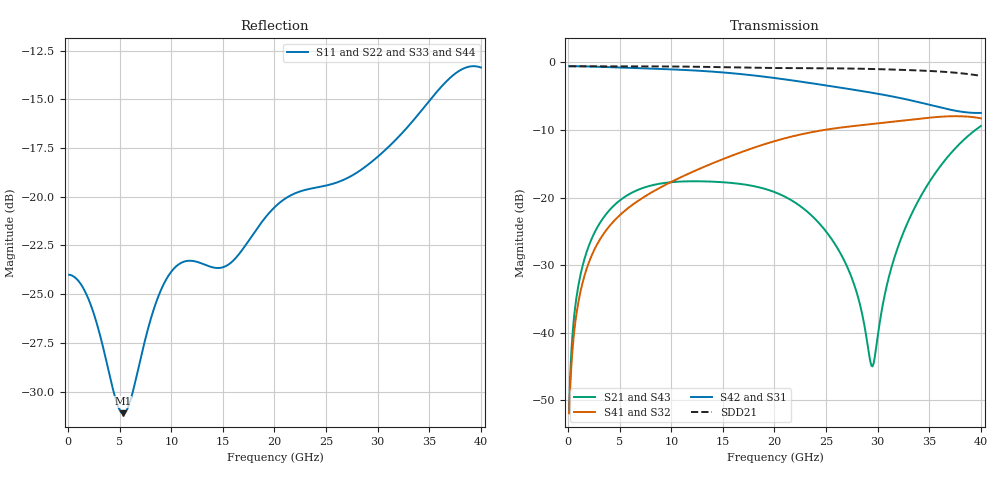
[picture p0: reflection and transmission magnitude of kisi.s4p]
! E_s8_L1L8_p1000_oval_g2: pair L1→L8, pitch 1 mm, one oval antipad, 2 GND vias
! stackup: 8-layer 1.6 mm FR-4 (generic)
! ports: 1 P near, 2 N near, 3 P far, 4 N far
! kisi-fdtd, conformal, dfine 0.035 mm, 768105 cells
# Hz S RI R 50
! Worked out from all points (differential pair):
!   400 points, 100 MHz to 40 GHz, reference 50 ohm
!   strongest paths, dB at 100 MHz, 10.1 GHz, 20.1 GHz, 30.1 GHz, 40 GHz:
!     S42: -0.6, -1.0, -2.3, -4.7, -7.5
!     S31: -0.6, -1.0, -2.3, -4.7, -7.5
!     S41: -51.9, -17.6, -11.6, -9.0, -8.3
!     S32: -51.9, -17.6, -11.6, -9.0, -8.3
!     S21: -51.7, -17.7, -19.2, -39.5, -9.4
!     S43: -51.7, -17.7, -19.2, -39.5, -9.4
!   taken as a pair (ports 2,1 in; 4,3 out), SDD21 dB: -0.6, -0.6, -0.8, -1.0, -2.0
!   lowest |S11| = -31.1 dB at 5.3 GHz (marker M1), VSWR 1.06, Z = 52.9 - j0.212 ohm
!   |S11| at or under -10 dB: start of sweep to end of sweep
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1e8  -0.063 0.00285  0.00142 0.0022  0.9374 -0.036  0.00181 -0.00177
     0.00142 0.0022  -0.063 0.00285  0.00181 -0.00177  0.9374 -0.036
     0.9374 -0.036  0.00181 -0.00177  -0.063 0.00285  0.00142 0.0022
     0.00181 -0.00177  0.9374 -0.036  0.00142 0.0022  -0.063 0.00285
5.3e9  0.0277 -0.00201  0.0815 -0.056  -0.3991 -0.8234  -0.0606 0.0484
       0.0815 -0.056  0.0277 -0.00201  -0.0606 0.0484  -0.3991 -0.8234
       -0.3991 -0.8234  -0.0606 0.0484  0.0277 -0.00201  0.0815 -0.056
       -0.0606 0.0484  -0.3991 -0.8234  0.0815 -0.056  0.0277 -0.00201
1.19e10  -0.042 0.0541  -0.1317 0.00942  -0.1613 0.8596  0.1521 -0.0162
         -0.1317 0.00942  -0.042 0.0541  0.1521 -0.0162  -0.1613 0.8596
         -0.1613 0.8596  0.1521 -0.0162  -0.042 0.0541  -0.1317 0.00942
         0.1521 -0.0162  -0.1613 0.8596  -0.1317 0.00942  -0.042 0.0541
1.61e10  0.0678 -0.0124  0.0106 0.1273  0.8196 0.124  -0.0383 -0.2038
         0.0106 0.1273  0.0678 -0.0124  -0.0383 -0.2038  0.8196 0.124
         0.8196 0.124  -0.0383 -0.2038  0.0678 -0.0124  0.0106 0.1273
         -0.0383 -0.2038  0.8196 0.124  0.0106 0.1273  0.0678 -0.0124
2.03e10  -0.0654 -0.0696  0.1075 -0.00262  0.0913 -0.7563  -0.2513 0.0854
         0.1075 -0.00262  -0.0654 -0.0696  -0.2513 0.0854  0.0913 -0.7563
         0.0913 -0.7563  -0.2513 0.0854  -0.0654 -0.0696  0.1075 -0.00262
         -0.2513 0.0854  0.0913 -0.7563  0.1075 -0.00262  -0.0654 -0.0696
2.95e10  0.1187 0.0336  -0.00194 0.00529  0.1101 0.5852  0.1689 -0.3069
         -0.00194 0.00529  0.1187 0.0336  0.1689 -0.3069  0.1101 0.5852
         0.1101 0.5852  0.1689 -0.3069  0.1187 0.0336  -0.00194 0.00529
         0.1689 -0.3069  0.1101 0.5852  -0.00194 0.00529  0.1187 0.0336
4e10  -0.2145 -0.000558  -0.2878 0.178  -0.2901 -0.308  0.3467 0.1693
      -0.2878 0.178  -0.2145 -0.000558  0.3467 0.1693  -0.2901 -0.308
      -0.2901 -0.308  0.3467 0.1693  -0.2145 -0.000558  -0.2878 0.178
      0.3467 0.1693  -0.2901 -0.308  -0.2878 0.178  -0.2145 -0.000558
